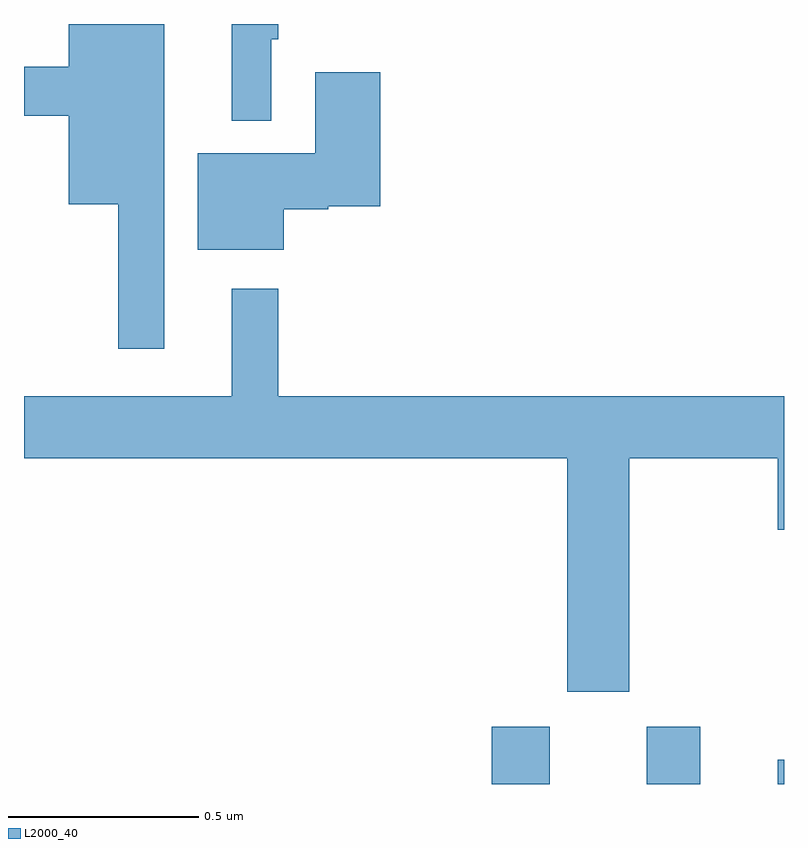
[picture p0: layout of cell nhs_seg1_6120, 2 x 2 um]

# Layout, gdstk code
import gdstk
lib = gdstk.Library(unit=1e-6, precision=1e-09)
def R(c, l, rs):  # rectangles x0, y0, x1, y1
    for r in rs: c.add(gdstk.rectangle(r[:2], r[2:], *l))
def P(c, l, *ps):  # polygons
    for p in ps: c.add(gdstk.Polygon(p, *l))
L2000_40 = (2000, 40)

nhs_seg1_6120 = lib.new_cell('nhs_seg1_6120')
R(nhs_seg1_6120, L2000_40, [(188.231,560.199,188.383,560.35), (188.639,560.199,188.779,560.35), (188.984,560.199,189,560.263)])
P(nhs_seg1_6120, L2000_40, [(187.651,562.159),(187.669,562.159),(187.669,562.199),(187.547,562.199),(187.547,561.944),(187.651,561.944)],
  [(187.369,562.199),(187.118,562.199),(187.118,562.087),(187,562.087),(187,561.958),(187.118,561.958),(187.118,561.725),(187.248,561.725),(187.248,561.345),(187.369,561.345)],
  [(187.684,561.712),(187.8,561.712),(187.8,561.719),(187.937,561.719),(187.937,562.072),(187.766,562.072),(187.766,561.859),(187.457,561.859),(187.457,561.605),(187.684,561.605)],
  [(188.593,561.056),(188.984,561.056),(188.984,560.868),(189,560.868),(189,561.22),(187.669,561.22),(187.669,561.502),(187.547,561.502),(187.547,561.22),(187,561.22),(187,561.056),(188.429,561.056),(188.429,560.442),(188.593,560.442)])

lib.write_gds('nhs_seg1_6120.gds')
